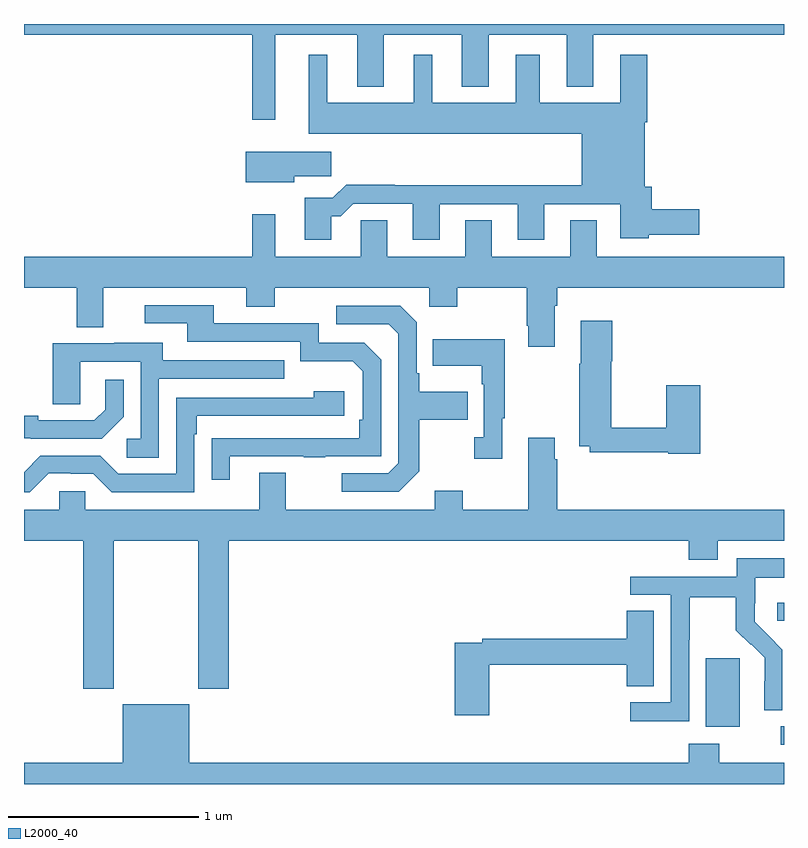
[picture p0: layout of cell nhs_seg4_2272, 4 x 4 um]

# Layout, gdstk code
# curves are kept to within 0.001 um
import gdstk
lib = gdstk.Library(unit=1e-6, precision=1e-09)
def R(c, l, rs):  # rectangles x0, y0, x1, y1
    for r in rs: c.add(gdstk.rectangle(r[:2], r[2:], *l))
def P(c, l, *ps):  # polygons
    for p in ps: c.add(gdstk.Polygon(p, *l))
L2000_40 = (2000, 40)

nhs_seg4_2272 = lib.new_cell('nhs_seg4_2272')
R(nhs_seg4_2272, L2000_40, [(232.983,769.107,233,769.203), (232.589,769.202,232.768,769.563), (232.965,769.758,233,769.855)])
P(nhs_seg4_2272, L2000_40, [(229,772.844),(230.202,772.844),(230.202,772.395),(230.323,772.395),(230.323,772.844),(230.753,772.844),(230.753,772.571),(230.893,772.571),(230.893,772.844),(231.305,772.844),(231.305,772.571),(231.445,772.571),(231.445,772.844),(231.857,772.844),(231.857,772.571),(231.997,772.571),(231.997,772.844),(233,772.844),(233,772.9),(229,772.9)],
  [(230.617,771.887),(230.666,771.887),(230.733,771.954),(231.047,771.954),(231.047,771.765),(231.187,771.765),(231.187,771.951),(231.599,771.951),(231.599,771.765),(231.739,771.765),(231.739,771.951),(232.139,771.951),(232.139,771.773),(232.287,771.773),(232.287,771.791),(232.555,771.791),(232.555,771.926),(232.304,771.926),(232.304,772.044),(232.267,772.044),(232.267,772.382),(232.28,772.382),(232.28,772.738),(232.139,772.738),(232.139,772.486),(231.715,772.486),(231.715,772.738),(231.587,772.738),(231.587,772.486),(231.148,772.486),(231.148,772.738),(231.05,772.738),(231.05,772.486),(230.596,772.486),(230.596,772.738),(230.498,772.738),(230.498,772.322),(231.935,772.322),(231.935,772.052),(230.951,772.052),(230.951,772.055),(230.696,772.055),(230.626,771.985),(230.477,771.985),(230.477,771.765),(230.617,771.765)],
  [(230.422,772.099),(230.617,772.099),(230.617,772.228),(230.168,772.228),(230.168,772.067),(230.422,772.067)],
  [(231.793,771.416),(231.806,771.416),(231.806,771.512),(233,771.512),(233,771.676),(232.015,771.676),(232.015,771.866),(231.875,771.866),(231.875,771.676),(231.463,771.676),(231.463,771.866),(231.323,771.866),(231.323,771.676),(230.911,771.676),(230.911,771.866),(230.772,771.866),(230.772,771.676),(230.323,771.676),(230.323,771.898),(230.202,771.898),(230.202,771.676),(229,771.676),(229,771.512),(229.277,771.512),(229.277,771.304),(229.417,771.304),(229.417,771.512),(230.171,771.512),(230.171,771.413),(230.319,771.413),(230.319,771.512),(231.132,771.512),(231.132,771.413),(231.279,771.413),(231.279,771.512),(231.646,771.512),(231.646,771.313),(231.653,771.313),(231.653,771.201),(231.793,771.201)],
  [(230.083,770.625),(230.473,770.625),(230.473,770.62),(230.585,770.62),(230.585,770.625),(230.88,770.625),(230.88,771.132),(230.79,771.222),(230.55,771.222),(230.55,771.324),(229.999,771.324),(229.999,771.42),(229.635,771.42),(229.635,771.324),(229.859,771.324),(229.859,771.228),(230.454,771.228),(230.454,771.125),(230.731,771.125),(230.784,771.072),(230.784,770.818),(230.764,770.818),(230.764,770.721),(229.987,770.72),(229.987,770.502),(230.083,770.502)],
  [(231.079,770.545),(231.079,770.818),(231.335,770.818),(231.335,770.965),(231.079,770.965),(231.079,771.061),(231.066,771.061),(231.066,771.33),(230.979,771.417),(230.643,771.417),(230.643,771.321),(230.919,771.321),(230.97,771.27),(230.97,770.589),(230.916,770.535),(230.673,770.535),(230.673,770.439),(230.973,770.439)],
  [(232.559,770.998),(232.381,770.998),(232.381,770.774),(232.092,770.774),(232.092,771.124),(232.097,771.124),(232.097,771.337),(231.929,771.337),(231.929,771.113),(231.922,771.113),(231.922,770.678),(231.978,770.678),(231.978,770.646),(232.392,770.646),(232.392,770.638),(232.559,770.638)],
  [(231.517,770.825),(231.529,770.825),(231.529,771.241),(231.151,771.241),(231.151,771.101),(231.408,771.101),(231.408,771.005),(231.42,771.005),(231.42,770.726),(231.369,770.726),(231.369,770.613),(231.517,770.613)],
  [(229.71,771.033),(230.369,771.033),(230.369,771.129),(229.729,771.129),(229.729,771.223),(229.475,771.223),(229.475,771.219),(229.151,771.219),(229.151,770.899),(229.296,770.899),(229.296,771.123),(229.614,771.123),(229.614,770.718),(229.542,770.718),(229.542,770.617),(229.71,770.617)],
  [(229.524,770.834),(229.524,771.028),(229.427,771.028),(229.427,770.871),(229.37,770.814),(229.075,770.814),(229.075,770.837),(229,770.837),(229,770.721),(229.036,770.721),(229.036,770.718),(229.408,770.718)],
  [(229.131,770.535),(229.247,770.535),(229.247,770.532),(229.365,770.532),(229.461,770.436),(229.896,770.436),(229.896,770.741),(229.909,770.741),(229.909,770.838),(230.686,770.838),(230.686,770.968),(230.525,770.968),(230.525,770.934),(229.8,770.934),(229.8,770.532),(229.497,770.532),(229.401,770.628),(229.086,770.628),(229,770.542),(229,770.435),(229.031,770.435)],
  [(229.473,770.18),(229.918,770.18),(229.918,769.401),(230.078,769.401),(230.078,770.18),(232.499,770.18),(232.499,770.081),(232.651,770.081),(232.651,770.18),(233,770.18),(233,770.344),(231.806,770.344),(231.806,770.609),(231.793,770.609),(231.793,770.722),(231.653,770.722),(231.653,770.344),(231.309,770.344),(231.309,770.443),(231.161,770.443),(231.161,770.344),(230.377,770.344),(230.377,770.539),(230.237,770.539),(230.237,770.344),(229.323,770.344),(229.323,770.442),(229.185,770.442),(229.185,770.344),(229,770.344),(229,770.18),(229.313,770.18),(229.313,769.401),(229.473,769.401)],
  [(232.5,769.66),(232.503,769.66),(232.503,769.884),(232.747,769.884),(232.747,769.709),(232.824,769.632),(232.827,769.635),(232.898,769.565),(232.898,769.442),(232.896,769.442),(232.896,769.288),(232.992,769.288),(232.992,769.606),(232.846,769.754),(232.846,769.851),(232.848,769.851),(232.848,769.985),(233,769.985),(233,770.089),(232.752,770.089),(232.752,769.992),(232.191,769.992),(232.191,769.896),(232.404,769.896),(232.404,769.329),(232.191,769.329),(232.191,769.231),(232.5,769.231)],
  [(231.449,769.528),(232.172,769.528),(232.172,769.414),(232.315,769.414),(232.315,769.811),(232.172,769.811),(232.172,769.664),(231.412,769.664),(231.412,769.644),(231.266,769.644),(231.266,769.263),(231.449,769.263)],
  [(233,769.012),(232.659,769.012),(232.659,769.111),(232.499,769.111),(232.499,769.012),(229.87,769.012),(229.87,769.321),(229.52,769.321),(229.52,769.012),(229,769.012),(229,768.9),(233,768.9)])

lib.write_gds('nhs_seg4_2272.gds')
